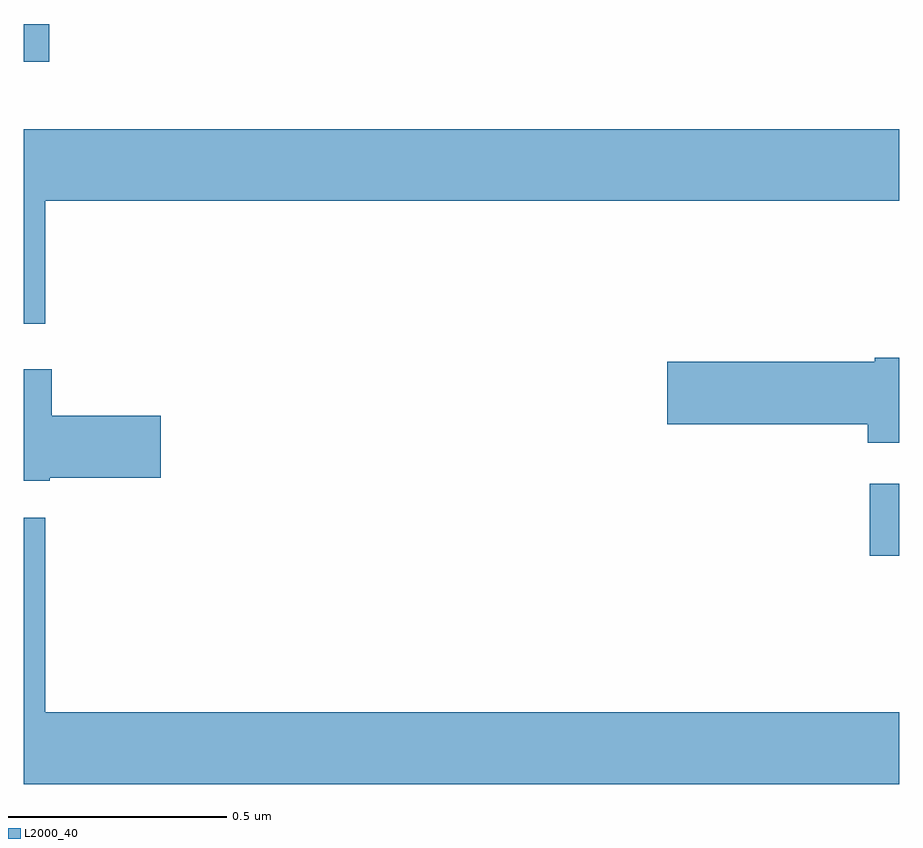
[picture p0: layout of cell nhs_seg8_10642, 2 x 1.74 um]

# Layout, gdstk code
import gdstk
lib = gdstk.Library(unit=1e-6, precision=1e-09)
def R(c, l, rs):  # rectangles x0, y0, x1, y1
    for r in rs: c.add(gdstk.rectangle(r[:2], r[2:], *l))
def P(c, l, *ps):  # polygons
    for p in ps: c.add(gdstk.Polygon(p, *l))
L2000_40 = (2000, 40)

nhs_seg8_10642 = lib.new_cell('nhs_seg8_10642')
R(nhs_seg8_10642, L2000_40, [(253.932,1119.685,254,1119.85), (252,1120.814,252.058,1120.9)])
P(nhs_seg8_10642, L2000_40, [(252.049,1120.496),(254,1120.496),(254,1120.66),(252,1120.66),(252,1120.215),(252.049,1120.215)],
  [(254,1120.138),(253.944,1120.138),(253.944,1120.128),(253.47,1120.128),(253.47,1119.986),(253.928,1119.986),(253.928,1119.944),(254,1119.944)],
  [(252.06,1119.863),(252.313,1119.863),(252.313,1120.005),(252.064,1120.005),(252.064,1120.111),(252,1120.111),(252,1119.857),(252.06,1119.857)],
  [(254,1119.328),(252.049,1119.328),(252.049,1119.772),(252,1119.772),(252,1119.164),(254,1119.164)])

lib.write_gds('nhs_seg8_10642.gds')
